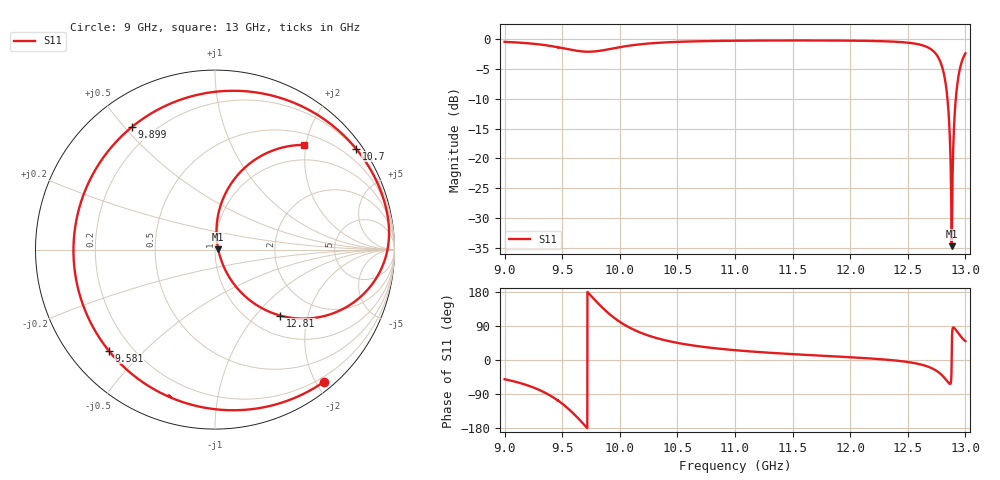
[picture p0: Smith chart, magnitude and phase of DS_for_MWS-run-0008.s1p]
! TOUCHSTONE file generated by CST DESIGN STUDIO
! Date and time: Tue Feb  4 14:32:47 2025
! Project name: C:\Work\MatlabApps\UnitCellOptimizationMatlab\CST\unitcell.cst
! Tree item: Tasks\Sweep1\SPara1\S-Parameters
! Header version: 2024
! Port assignment regex: !\s*Touchstone port\s*([0-9]+)\s*=\s*(CST MWS port|CST DES external port|CST DES block port)\s*(.+)\s* \(\"(.*)\"\)(\s*mode\s*([0-9]+))?.*
! Touchstone port assignment:
! Touchstone port 1 = CST DES external port 1 ("")
# GHz S MA R 50
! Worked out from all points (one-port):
!   4001 points, 9 GHz to 13 GHz, reference 50 ohm
!   lowest |S11| = -34.8 dB at 12.88 GHz (marker M1), VSWR 1.04, Z = 51.9 + j0.0838 ohm
!   |S11| at or under -10 dB: 12.84 GHz to 12.92 GHz (72.28 MHz wide, 0.561 % of centre)
!   S11 on the Smith chart (normalised r, x): 9 GHz: 0.13, -2.10; 9.581 GHz: 0.12, -0.39; 9.899 GHz: 0.12, +0.52; 10.7 GHz: 0.18, +3.11; 12.81 GHz: 1.36, -1.36; 13 GHz: 0.70, +1.95
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9  0.9543 -50.7
9.259  0.9181 -73.7
9.394  0.8832 -93.5
9.5  0.8466 -115.2
9.581  0.8171 -136.4
9.662  0.7949 -161.4
9.734  0.7887 174.7
9.808  0.7981 150.5
9.899  0.8253 124.1
10  0.8609 100.6
10.227  0.9202 66.7
10.5  0.9542 45.2
10.7  0.9662 35.6
11  0.9755 25.9
11.5  0.9805 15.5
12  0.9768 7.3
12.5  0.9394 -5.3
12.698  0.8316 -20.3
12.759  0.7209 -30.6
12.813  0.516 -45.4
12.845  0.3113 -57.1
12.868  0.1227 -63.2
12.881  0.01827 2.5
12.894  0.1183 85.8
12.911  0.2691 81.8
12.93  0.4206 73.9
12.96  0.6072 62.0
13  0.7639 49.8
